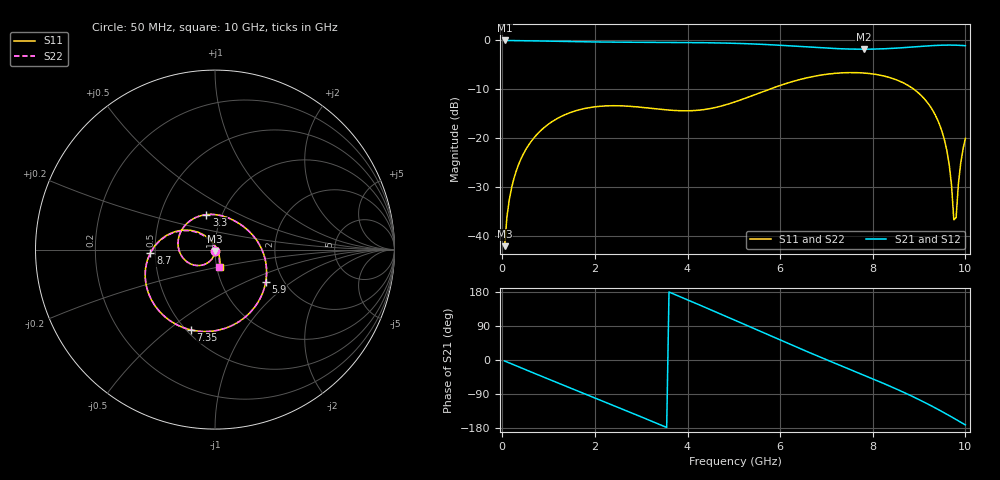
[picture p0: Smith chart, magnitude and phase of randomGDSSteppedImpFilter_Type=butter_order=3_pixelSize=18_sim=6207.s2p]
! freq	dB(S11)	phase(S11)	dB(S12)	phase(S12)
!  dB(S21)	phase(S21)	dB(S22)	phase(S22)
!S-par simulation data
#  GHz  S  DB  R 50
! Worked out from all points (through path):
!   200 points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, 50 MHz to 10 GHz, reference 50 ohm
!   highest |S21| = 0.00 dB at 50 MHz (marker M1); lowest = -1.8 dB at 7.8 GHz (marker M2)
!   group delay of S21, straight-line fit = 145 ps
!   lowest |S11| = -42.0 dB at 50 MHz (marker M3), VSWR 1.02, Z = 50 - j0.791 ohm
!   |S11| at or under -10 dB: start of sweep to 5.757 GHz; 8.891 GHz to end of sweep
!   |S22| runs from -42.0 to -6.6 dB; largest |S21 - S12| = 0
!   S11 on the Smith chart (normalised r, x): 50 MHz: 1.00, -0.02; 3.3 GHz: 0.84, +0.34; 5.9 GHz: 1.63, -0.65; 7.35 GHz: 0.53, -0.60; 8.7 GHz: 0.47, -0.02; 10 GHz: 1.04, -0.20
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0.05  -42.03 -91.7  -0.00 -2.6  -0.00 -2.6  -42.03 -91.7
0.2  -30.14 -100.0  -0.02 -10.2  -0.02 -10.2  -30.14 -100.0
0.5  -22.42 -115.9  -0.06 -25.4  -0.06 -25.4  -22.42 -115.9
1.15  -16.15 -148.8  -0.18 -58.0  -0.18 -58.0  -16.15 -148.8
1.75  -13.97 -178.6  -0.28 -87.8  -0.28 -87.8  -13.96 -178.7
2.45  -13.34 146.6  -0.35 -122.5  -0.35 -122.5  -13.33 146.5
3.3  -13.96 103.8  -0.39 -165.3  -0.39 -165.3  -13.95 103.6
3.4  -14.05 98.7  -0.39 -170.4  -0.39 -170.4  -14.05 98.5
4.15  -14.32 60.0  -0.44 150.9  -0.44 150.9  -14.31 59.7
5.05  -12.47 12.7  -0.60 103.4  -0.60 103.4  -12.47 12.6
5.9  -9.52 -32.2  -0.94 58.1  -0.94 58.1  -9.51 -32.2
6.7  -7.39 -73.8  -1.40 16.1  -1.40 16.1  -7.39 -73.7
7.35  -6.61 -106.7  -1.72 -16.9  -1.72 -16.9  -6.61 -106.5
7.8  -6.65 -129.3  -1.79 -39.6  -1.79 -39.6  -6.65 -129.1
8.35  -7.54 -157.8  -1.65 -68.0  -1.65 -68.0  -7.54 -157.5
8.7  -8.86 -177.2  -1.45 -87.1  -1.45 -87.1  -8.86 -176.7
9.5  -18.75 130.2  -0.97 -136.4  -0.97 -136.4  -18.77 132.0
9.65  -25.32 114.3  -0.95 -146.6  -0.95 -146.6  -25.42 118.1
9.75  -36.64 71.9  -0.96 -153.6  -0.96 -153.6  -38.23 83.6
9.8  -36.17 -22.0  -0.97 -157.1  -0.97 -157.1  -37.45 -34.1
9.85  -29.13 -51.7  -0.99 -160.6  -0.99 -160.6  -29.32 -57.8
10  -20.00 -73.7  -1.08 -171.3  -1.08 -171.3  -20.01 -75.8
